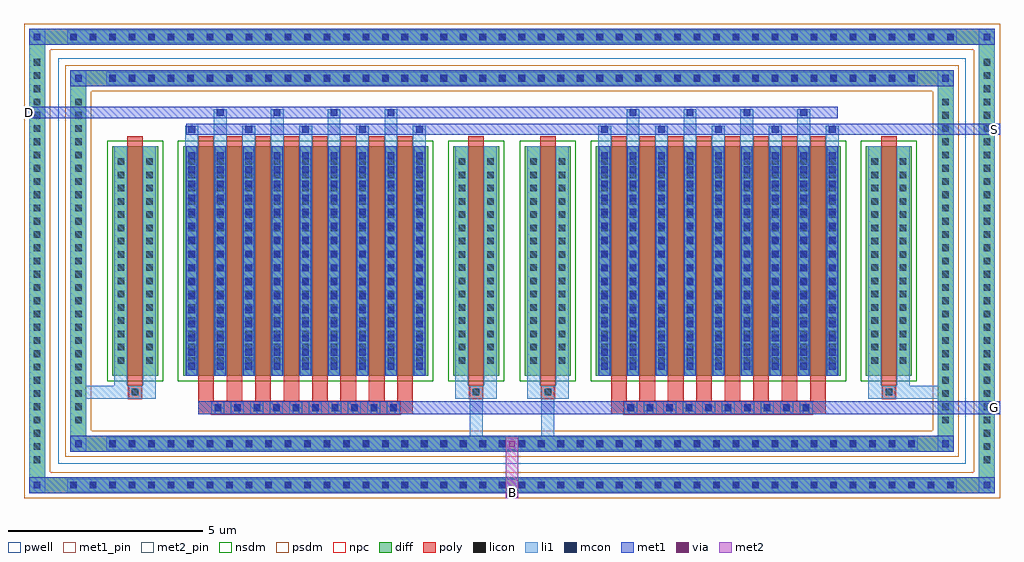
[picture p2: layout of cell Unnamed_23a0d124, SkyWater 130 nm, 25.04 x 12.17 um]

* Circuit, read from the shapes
.subckt Unnamed_23a0d124 B D G S
XM1 B B B VSUBS sky130_fd_pr__nfet_01v8 w=5.9 l=0.4 m=4
XM2 D G S VSUBS sky130_fd_pr__nfet_01v8 w=5.9 l=0.4 m=16
.ends

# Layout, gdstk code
import gdstk
lib = gdstk.Library(unit=1e-6, precision=5e-09)
def R(c, l, rs):  # rectangles x0, y0, x1, y1
    for r in rs: c.add(gdstk.rectangle(r[:2], r[2:], *l))
def A(c, l, x, y, w, h, nx, ny, dx, dy):  # array of equal rectangles
    R(c, l, [(x+i*dx, y+j*dy, x+i*dx+w, y+j*dy+h) for i in range(nx) for j in range(ny)])
def P(c, l, *ps):  # polygons
    for p in ps: c.add(gdstk.Polygon(p, *l))
pwell = (64, 44)
diff = (65, 20)
poly = (66, 20)
licon = (66, 44)
li1 = (67, 20)
mcon = (67, 44)
met1_pin = (68, 16)
met1 = (68, 20)
via = (68, 44)
met2_pin = (69, 16)
met2 = (69, 20)
nsdm = (93, 44)
psdm = (94, 20)
npc = (95, 20)

unnamed_23a0d124 = lib.new_cell('Unnamed_23a0d124')
R(unnamed_23a0d124, pwell, [(-11.64,-5.205,11.64,5.205)])
A(unnamed_23a0d124, diff, -11.455, -5.955, 0.41, 0.41, 46, 2, 0.5, 11.5)
A(unnamed_23a0d124, diff, -12.39, -5.305, 0.41, 0.41, 1, 31, 0, 0.34)
A(unnamed_23a0d124, diff, 11.98, -5.305, 0.41, 0.41, 1, 31, 0, 0.34)
A(unnamed_23a0d124, diff, -10.455, -4.895, 0.41, 0.41, 42, 2, 0.5, 9.38)
A(unnamed_23a0d124, diff, -11.33, -4.285, 0.41, 0.41, 1, 25, 0, 0.34)
A(unnamed_23a0d124, diff, 10.92, -4.285, 0.41, 0.41, 1, 25, 0, 0.34)
R(unnamed_23a0d124, diff, [(-11.455,-5.955,11.455,-5.545), (-12.39,-5.305,-11.98,5.305), (11.98,-5.305,12.39,5.305), (-10.455,-4.895,10.455,-4.485), (-11.33,-4.285,-10.92,4.285), (10.92,-4.285,11.33,4.285), (-10.26,-2.95,-9.08,2.95), (-8.44,-2.95,-2.15,2.95), (-1.51,-2.95,-0.33,2.95), (0.33,-2.95,1.51,2.95), (2.15,-2.95,8.44,2.95), (9.08,-2.95,10.26,2.95), (-10.455,4.485,10.455,4.895), (-11.455,5.545,11.455,5.955)])
P(unnamed_23a0d124, diff, [(12.39,5.955),(-12.39,5.955),(-12.39,-5.545),(-11.98,-5.545),(-11.98,5.545),(11.98,5.545),(11.98,-5.545),(-11.98,-5.545),(-12.39,-5.545),(-12.39,-5.955),(12.39,-5.955)],
  [(11.33,4.895),(-11.33,4.895),(-11.33,-4.485),(-10.92,-4.485),(-10.92,4.485),(10.92,4.485),(10.92,-4.485),(-10.92,-4.485),(-11.33,-4.485),(-11.33,-4.895),(11.33,-4.895)])
A(unnamed_23a0d124, poly, -7.71, -3.93, 0.33, 0.33, 10, 1, 0.5, 0)
A(unnamed_23a0d124, poly, 2.88, -3.93, 0.33, 0.33, 10, 1, 0.5, 0)
A(unnamed_23a0d124, poly, -8.05, -3.6, 0.4, 0.4, 8, 1, 0.73, 0)
A(unnamed_23a0d124, poly, 2.54, -3.6, 0.4, 0.4, 8, 1, 0.73, 0)
A(unnamed_23a0d124, poly, -8.05, -3.2, 0.4, 6.4, 8, 1, 0.73, 0)
A(unnamed_23a0d124, poly, 2.54, -3.2, 0.4, 6.4, 8, 1, 0.73, 0)
R(unnamed_23a0d124, poly, [(-8.05,-3.93,-2.54,-3.6), (2.54,-3.93,8.05,-3.6), (-9.835,-3.53,-9.505,-3.2), (-9.835,-3.53,-9.505,-3.2), (-1.085,-3.53,-0.755,-3.2), (-1.085,-3.53,-0.755,-3.2), (0.755,-3.53,1.085,-3.2), (0.755,-3.53,1.085,-3.2), (9.505,-3.53,9.835,-3.2), (9.505,-3.53,9.835,-3.2), (-9.87,-3.2,-9.47,3.2), (-1.12,-3.2,-0.72,3.2), (0.72,-3.2,1.12,3.2), (9.47,-3.2,9.87,3.2)])
A(unnamed_23a0d124, licon, -11.335, -5.835, 0.17, 0.17, 46, 2, 0.5, 11.5)
A(unnamed_23a0d124, licon, -12.27, -5.185, 0.17, 0.17, 1, 31, 0, 0.34)
A(unnamed_23a0d124, licon, 12.1, -5.185, 0.17, 0.17, 1, 31, 0, 0.34)
A(unnamed_23a0d124, licon, -10.335, -4.775, 0.17, 0.17, 42, 2, 0.5, 9.38)
A(unnamed_23a0d124, licon, -11.21, -4.165, 0.17, 0.17, 1, 25, 0, 0.34)
A(unnamed_23a0d124, licon, 11.04, -4.165, 0.17, 0.17, 1, 25, 0, 0.34)
A(unnamed_23a0d124, licon, -7.63, -3.85, 0.17, 0.17, 10, 1, 0.5, 0)
A(unnamed_23a0d124, licon, 2.96, -3.85, 0.17, 0.17, 10, 1, 0.5, 0)
A(unnamed_23a0d124, licon, -10.12, -2.635, 0.17, 0.17, 1, 16, 0, 0.34)
A(unnamed_23a0d124, licon, -9.39, -2.635, 0.17, 0.17, 1, 16, 0, 0.34)
A(unnamed_23a0d124, licon, -8.3, -2.635, 0.17, 0.17, 9, 16, 0.73, 0.34)
A(unnamed_23a0d124, licon, -1.37, -2.635, 0.17, 0.17, 1, 16, 0, 0.34)
A(unnamed_23a0d124, licon, -0.64, -2.635, 0.17, 0.17, 1, 16, 0, 0.34)
A(unnamed_23a0d124, licon, 0.47, -2.635, 0.17, 0.17, 1, 16, 0, 0.34)
A(unnamed_23a0d124, licon, 1.2, -2.635, 0.17, 0.17, 1, 16, 0, 0.34)
A(unnamed_23a0d124, licon, 2.29, -2.635, 0.17, 0.17, 9, 16, 0.73, 0.34)
A(unnamed_23a0d124, licon, 9.22, -2.635, 0.17, 0.17, 1, 16, 0, 0.34)
A(unnamed_23a0d124, licon, 9.95, -2.635, 0.17, 0.17, 1, 16, 0, 0.34)
R(unnamed_23a0d124, licon, [(-9.755,-3.45,-9.585,-3.28), (-1.005,-3.45,-0.835,-3.28), (0.835,-3.45,1.005,-3.28), (9.585,-3.45,9.755,-3.28)])
A(unnamed_23a0d124, li1, -11.415, -5.915, 0.33, 0.33, 46, 2, 0.5, 11.5)
A(unnamed_23a0d124, li1, -12.35, -5.265, 0.33, 0.33, 1, 31, 0, 0.34)
A(unnamed_23a0d124, li1, 12.02, -5.265, 0.33, 0.33, 1, 31, 0, 0.34)
A(unnamed_23a0d124, li1, -10.415, -4.855, 0.33, 0.33, 42, 2, 0.5, 9.38)
A(unnamed_23a0d124, li1, -11.29, -4.245, 0.33, 0.33, 1, 25, 0, 0.34)
A(unnamed_23a0d124, li1, 10.96, -4.245, 0.33, 0.33, 1, 25, 0, 0.34)
A(unnamed_23a0d124, li1, -7.71, -3.93, 0.33, 0.33, 10, 1, 0.5, 0)
A(unnamed_23a0d124, li1, 2.88, -3.93, 0.33, 0.33, 10, 1, 0.5, 0)
A(unnamed_23a0d124, li1, -8.38, -2.95, 0.33, 5.9, 9, 1, 0.73, 0)
A(unnamed_23a0d124, li1, 2.21, -2.95, 0.33, 5.9, 9, 1, 0.73, 0)
A(unnamed_23a0d124, li1, -8.3, -2.785, 0.17, 0.17, 9, 16, 0.73, 0.36)
A(unnamed_23a0d124, li1, -8.3, -2.785, 0.17, 5.57, 9, 1, 0.73, 0)
A(unnamed_23a0d124, li1, 2.29, -2.785, 0.17, 0.17, 9, 16, 0.73, 0.36)
A(unnamed_23a0d124, li1, 2.29, -2.785, 0.17, 5.57, 9, 1, 0.73, 0)
A(unnamed_23a0d124, li1, -10.2, -2.715, 0.33, 0.33, 1, 16, 0, 0.34)
A(unnamed_23a0d124, li1, -9.47, -2.715, 0.33, 0.33, 1, 16, 0, 0.34)
A(unnamed_23a0d124, li1, -8.38, -2.715, 0.33, 0.33, 9, 16, 0.73, 0.34)
A(unnamed_23a0d124, li1, -1.45, -2.715, 0.33, 0.33, 1, 16, 0, 0.34)
A(unnamed_23a0d124, li1, -0.72, -2.715, 0.33, 0.33, 1, 16, 0, 0.34)
A(unnamed_23a0d124, li1, 0.39, -2.715, 0.33, 0.33, 1, 16, 0, 0.34)
A(unnamed_23a0d124, li1, 1.12, -2.715, 0.33, 0.33, 1, 16, 0, 0.34)
A(unnamed_23a0d124, li1, 2.21, -2.715, 0.33, 0.33, 9, 16, 0.73, 0.34)
A(unnamed_23a0d124, li1, 9.14, -2.715, 0.33, 0.33, 1, 16, 0, 0.34)
A(unnamed_23a0d124, li1, 9.87, -2.715, 0.33, 0.33, 1, 16, 0, 0.34)
A(unnamed_23a0d124, li1, -8.38, 2.95, 0.33, 0.515, 5, 1, 1.46, 0)
A(unnamed_23a0d124, li1, -7.65, 2.95, 0.33, 0.945, 4, 1, 1.46, 0)
A(unnamed_23a0d124, li1, 2.21, 2.95, 0.33, 0.515, 5, 1, 1.46, 0)
A(unnamed_23a0d124, li1, 2.94, 2.95, 0.33, 0.945, 4, 1, 1.46, 0)
A(unnamed_23a0d124, li1, -8.3, 3.295, 0.17, 0.17, 5, 1, 1.46, 0)
A(unnamed_23a0d124, li1, 2.29, 3.295, 0.17, 0.17, 5, 1, 1.46, 0)
A(unnamed_23a0d124, li1, -7.57, 3.725, 0.17, 0.17, 4, 1, 1.46, 0)
A(unnamed_23a0d124, li1, 3.02, 3.725, 0.17, 0.17, 4, 1, 1.46, 0)
R(unnamed_23a0d124, li1, [(-12.39,-5.955,-11.98,-5.545), (11.98,-5.955,12.39,-5.545), (-11.415,-5.915,11.415,-5.585), (-12.27,-5.835,-12.1,-5.665), (-12.27,-5.835,-12.1,-5.665), (12.1,-5.835,12.27,-5.665), (12.1,-5.835,12.27,-5.665), (-12.39,-5.545,-11.98,5.545), (11.98,-5.545,12.39,5.545), (-11.33,-4.895,-10.92,-4.485), (-1.085,-4.895,-0.755,-3.53), (0.755,-4.895,1.085,-3.53), (10.92,-4.895,11.33,-4.485), (-10.415,-4.855,10.415,-4.525), (-11.21,-4.775,-11.04,-4.605), (-11.21,-4.775,-11.04,-4.605), (11.04,-4.775,11.21,-4.605), (11.04,-4.775,11.21,-4.605), (-11.33,-4.485,-10.92,4.485), (10.92,-4.485,11.33,4.485), (-11.33,-3.53,-9.835,-3.2), (-10.2,-3.53,-9.835,-3.2), (-10.2,-3.53,-9.87,-2.95), (-9.835,-3.53,-9.505,-3.2), (-9.505,-3.53,-9.14,-3.2), (-9.47,-3.53,-9.14,-2.95), (-1.45,-3.53,-1.085,-3.2), (-1.45,-3.53,-1.12,-2.95), (-1.085,-3.53,-0.755,-3.2), (-0.755,-3.53,-0.39,-3.2), (-0.72,-3.53,-0.39,-2.95), (0.39,-3.53,0.755,-3.2), (0.39,-3.53,0.72,-2.95), (0.755,-3.53,1.085,-3.2), (1.085,-3.53,1.45,-3.2), (1.12,-3.53,1.45,-2.95), (9.14,-3.53,9.505,-3.2), (9.14,-3.53,9.47,-2.95), (9.505,-3.53,9.835,-3.2), (9.505,-3.53,11.33,-3.2), (9.835,-3.53,10.2,-3.2), (9.87,-3.53,10.2,-2.95), (-10.2,-2.95,-9.87,2.95), (-9.47,-2.95,-9.14,2.95), (-1.45,-2.95,-1.12,2.95), (-0.72,-2.95,-0.39,2.95), (0.39,-2.95,0.72,2.95), (1.12,-2.95,1.45,2.95), (9.14,-2.95,9.47,2.95), (9.87,-2.95,10.2,2.95), (-11.33,4.485,-10.92,4.895), (10.92,4.485,11.33,4.895), (-10.415,4.525,10.415,4.855), (-11.21,4.605,-11.04,4.775), (-11.21,4.605,-11.04,4.775), (11.04,4.605,11.21,4.775), (11.04,4.605,11.21,4.775), (-12.39,5.545,-11.98,5.955), (11.98,5.545,12.39,5.955), (-11.415,5.585,11.415,5.915), (-12.27,5.665,-12.1,5.835), (-12.27,5.665,-12.1,5.835), (12.1,5.665,12.27,5.835), (12.1,5.665,12.27,5.835)])
A(unnamed_23a0d124, mcon, -11.335, -5.835, 0.17, 0.17, 46, 2, 0.5, 11.5)
A(unnamed_23a0d124, mcon, -10.335, -4.775, 0.17, 0.17, 42, 2, 0.5, 9.38)
A(unnamed_23a0d124, mcon, -7.63, -3.85, 0.17, 0.17, 10, 1, 0.5, 0)
A(unnamed_23a0d124, mcon, 2.96, -3.85, 0.17, 0.17, 10, 1, 0.5, 0)
A(unnamed_23a0d124, mcon, -8.3, -2.785, 0.17, 0.17, 9, 16, 0.73, 0.36)
A(unnamed_23a0d124, mcon, 2.29, -2.785, 0.17, 0.17, 9, 16, 0.73, 0.36)
A(unnamed_23a0d124, mcon, -8.3, 3.295, 0.17, 0.17, 5, 1, 1.46, 0)
A(unnamed_23a0d124, mcon, 2.29, 3.295, 0.17, 0.17, 5, 1, 1.46, 0)
A(unnamed_23a0d124, mcon, -7.57, 3.725, 0.17, 0.17, 4, 1, 1.46, 0)
A(unnamed_23a0d124, mcon, 3.02, 3.725, 0.17, 0.17, 4, 1, 1.46, 0)
R(unnamed_23a0d124, mcon, [(-12.27,-5.835,-12.1,-5.665), (12.1,-5.835,12.27,-5.665), (-11.21,-4.775,-11.04,-4.605), (11.04,-4.775,11.21,-4.605), (-11.21,4.605,-11.04,4.775), (11.04,4.605,11.21,4.775), (-12.27,5.665,-12.1,5.835), (12.1,5.665,12.27,5.835)])
R(unnamed_23a0d124, met1_pin, [(12.25,-3.9,12.52,-3.63), (12.25,3.245,12.52,3.515), (-12.52,3.675,-12.25,3.945)])
A(unnamed_23a0d124, met1, -11.395, -5.895, 0.29, 0.29, 46, 2, 0.5, 11.5)
A(unnamed_23a0d124, met1, -10.395, -4.835, 0.29, 0.29, 42, 2, 0.5, 9.38)
A(unnamed_23a0d124, met1, -7.69, -3.91, 0.29, 0.29, 10, 1, 0.5, 0)
A(unnamed_23a0d124, met1, 2.9, -3.91, 0.29, 0.29, 10, 1, 0.5, 0)
A(unnamed_23a0d124, met1, -8.36, -2.95, 0.29, 5.9, 9, 1, 0.73, 0)
A(unnamed_23a0d124, met1, 2.23, -2.95, 0.29, 5.9, 9, 1, 0.73, 0)
A(unnamed_23a0d124, met1, -8.36, -2.845, 0.29, 0.29, 9, 16, 0.73, 0.36)
A(unnamed_23a0d124, met1, 2.23, -2.845, 0.29, 0.29, 9, 16, 0.73, 0.36)
A(unnamed_23a0d124, met1, -8.36, 3.235, 0.29, 0.29, 5, 1, 1.46, 0)
A(unnamed_23a0d124, met1, 2.23, 3.235, 0.29, 0.29, 5, 1, 1.46, 0)
A(unnamed_23a0d124, met1, -7.63, 3.665, 0.29, 0.29, 4, 1, 1.46, 0)
A(unnamed_23a0d124, met1, 2.96, 3.665, 0.29, 0.29, 4, 1, 1.46, 0)
R(unnamed_23a0d124, met1, [(-12.39,-5.955,-11.98,-5.545), (-12.39,-5.955,-11.98,-5.545), (-11.98,-5.955,11.98,-5.545), (11.98,-5.955,12.39,-5.545), (11.98,-5.955,12.39,-5.545), (-12.33,-5.895,-12.04,-5.605), (12.04,-5.895,12.33,-5.605), (-11.33,-4.895,-10.92,-4.485), (-11.33,-4.895,-10.92,-4.485), (-10.92,-4.895,10.92,-4.485), (10.92,-4.895,11.33,-4.485), (10.92,-4.895,11.33,-4.485), (-11.27,-4.835,-10.98,-4.545), (10.98,-4.835,11.27,-4.545), (-8.05,-3.93,-2.54,-3.6), (-2.54,-3.93,2.54,-3.6), (2.54,-3.93,8.05,-3.6), (8.05,-3.93,12.52,-3.6), (-8.36,3.235,-2.23,3.525), (-2.23,3.235,2.23,3.525), (2.23,3.235,8.36,3.525), (8.36,3.235,12.52,3.525), (-12.52,3.665,-8.36,3.955), (-8.36,3.665,-2.23,3.955), (-2.23,3.665,2.23,3.955), (2.23,3.665,8.36,3.955), (-11.33,4.485,-10.92,4.895), (-11.33,4.485,-10.92,4.895), (-10.92,4.485,10.92,4.895), (10.92,4.485,11.33,4.895), (10.92,4.485,11.33,4.895), (-11.27,4.545,-10.98,4.835), (10.98,4.545,11.27,4.835), (-12.39,5.545,-11.98,5.955), (-12.39,5.545,-11.98,5.955), (-11.98,5.545,11.98,5.955), (11.98,5.545,12.39,5.955), (11.98,5.545,12.39,5.955), (-12.33,5.605,-12.04,5.895), (12.04,5.605,12.33,5.895)])
R(unnamed_23a0d124, via, [(-0.075,-4.765,0.075,-4.615)])
R(unnamed_23a0d124, met2_pin, [(-0.135,-6.085,0.135,-5.815)])
R(unnamed_23a0d124, met2, [(-0.165,-6.085,0.165,-4.525), (-0.165,-4.855,0.165,-4.525)])
R(unnamed_23a0d124, nsdm, [(-10.39,-3.08,-8.95,3.08), (-8.57,-3.08,-2.02,3.08), (-1.64,-3.08,-0.2,3.08), (0.2,-3.08,1.64,3.08), (2.02,-3.08,8.57,3.08), (8.95,-3.08,10.39,3.08)])
P(unnamed_23a0d124, psdm, [(12.52,6.085),(-12.52,6.085),(-12.52,-5.415),(-11.85,-5.415),(-11.85,5.415),(11.85,5.415),(11.85,-5.415),(-11.85,-5.415),(-12.52,-5.415),(-12.52,-6.085),(12.52,-6.085)],
  [(11.46,5.025),(-11.46,5.025),(-11.46,-4.355),(-10.79,-4.355),(-10.79,4.355),(10.79,4.355),(10.79,-4.355),(-10.79,-4.355),(-11.46,-4.355),(-11.46,-5.025),(11.46,-5.025)])
A(unnamed_23a0d124, npc, -7.73, -3.95, 0.37, 0.37, 10, 1, 0.5, 0)
A(unnamed_23a0d124, npc, 2.86, -3.95, 0.37, 0.37, 10, 1, 0.5, 0)
R(unnamed_23a0d124, npc, [(-7.73,-3.95,-6.86,-3.58), (-7.73,-3.95,-6.86,-3.58), (-7.23,-3.95,-6.36,-3.58), (-7.23,-3.95,-6.36,-3.58), (-6.73,-3.95,-5.86,-3.58), (-6.73,-3.95,-5.86,-3.58), (-6.23,-3.95,-5.36,-3.58), (-6.23,-3.95,-5.36,-3.58), (-5.73,-3.95,-4.86,-3.58), (-5.73,-3.95,-4.86,-3.58), (-5.23,-3.95,-4.36,-3.58), (-5.23,-3.95,-4.36,-3.58), (-4.73,-3.95,-3.86,-3.58), (-4.73,-3.95,-3.86,-3.58), (-4.23,-3.95,-3.36,-3.58), (-4.23,-3.95,-3.36,-3.58), (-3.73,-3.95,-2.86,-3.58), (-3.73,-3.95,-2.86,-3.58), (2.86,-3.95,3.73,-3.58), (2.86,-3.95,3.73,-3.58), (3.36,-3.95,4.23,-3.58), (3.36,-3.95,4.23,-3.58), (3.86,-3.95,4.73,-3.58), (3.86,-3.95,4.73,-3.58), (4.36,-3.95,5.23,-3.58), (4.36,-3.95,5.23,-3.58), (4.86,-3.95,5.73,-3.58), (4.86,-3.95,5.73,-3.58), (5.36,-3.95,6.23,-3.58), (5.36,-3.95,6.23,-3.58), (5.86,-3.95,6.73,-3.58), (5.86,-3.95,6.73,-3.58), (6.36,-3.95,7.23,-3.58), (6.36,-3.95,7.23,-3.58), (6.86,-3.95,7.73,-3.58), (6.86,-3.95,7.73,-3.58), (-9.855,-3.55,-9.485,-3.18), (-1.105,-3.55,-0.735,-3.18), (0.735,-3.55,1.105,-3.18), (9.485,-3.55,9.855,-3.18)])
unnamed_23a0d124.add(gdstk.Label('D', (-12.385,3.81), layer=68, texttype=5))
unnamed_23a0d124.add(gdstk.Label('S', (12.385,3.38), layer=68, texttype=5))
unnamed_23a0d124.add(gdstk.Label('G', (12.385,-3.765), layer=68, texttype=5))
unnamed_23a0d124.add(gdstk.Label('B', (0,-5.95), layer=69, texttype=5))

lib.write_gds('Unnamed_23a0d124.gds')
